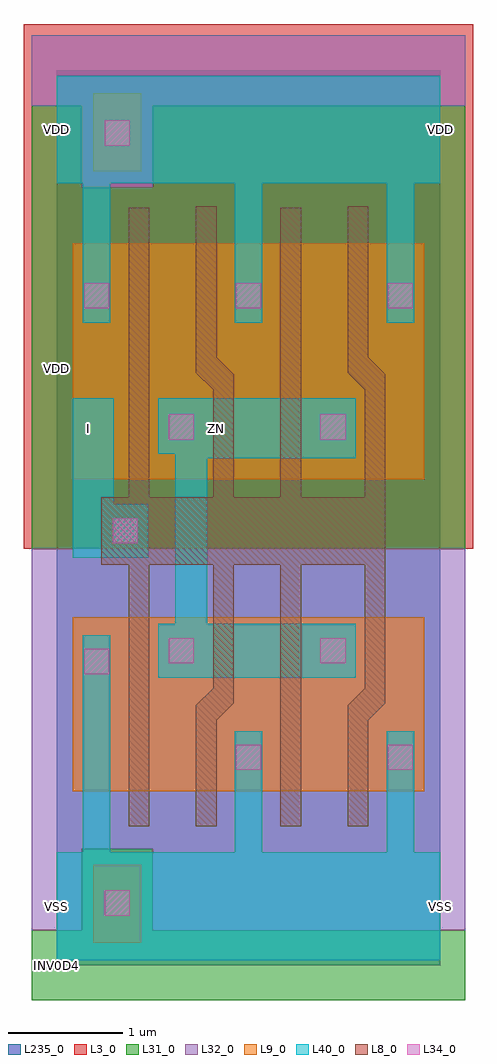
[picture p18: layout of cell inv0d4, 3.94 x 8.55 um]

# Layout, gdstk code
import gdstk
lib = gdstk.Library(unit=1e-6, precision=1e-09)
def R(c, l, rs):  # rectangles x0, y0, x1, y1
    for r in rs: c.add(gdstk.rectangle(r[:2], r[2:], *l))
def A(c, l, x, y, w, h, nx, ny, dx, dy):  # array of equal rectangles
    R(c, l, [(x+i*dx, y+j*dy, x+i*dx+w, y+j*dy+h) for i in range(nx) for j in range(ny)])
def P(c, l, *ps):  # polygons
    for p in ps: c.add(gdstk.Polygon(p, *l))
L3_0 = (3, 0)
L8_0 = (8, 0)
L9_0 = (9, 0)
L31_0 = (31, 0)
L32_0 = (32, 0)
L34_0 = (34, 0)
L40_0 = (40, 0)
L235_0 = (235, 0)

inv0d4 = lib.new_cell('inv0d4')
R(inv0d4, L3_0, [(-0.29,3.65,3.65,8.245)])
P(inv0d4, L8_0, [(0.81,3.51),(1.37,3.51),(1.37,2.425),(1.22,2.275),(1.22,1.215),(1.4,1.215),(1.4,2.145),(1.55,2.295),(1.55,3.51),(1.96,3.51),(1.96,1.215),(2.14,1.215),(2.14,3.51),(2.7,3.51),(2.7,2.425),(2.55,2.275),(2.55,1.215),(2.73,1.215),(2.73,2.145),(2.88,2.295),(2.88,5.175),(2.73,5.325),(2.73,6.65),(2.55,6.65),(2.55,5.19),(2.7,5.04),(2.7,4.1),(2.14,4.1),(2.14,6.635),(1.96,6.635),(1.96,4.1),(1.55,4.1),(1.55,5.175),(1.4,5.325),(1.4,6.65),(1.22,6.65),(1.22,5.19),(1.37,5.04),(1.37,4.1),(0.81,4.1),(0.81,6.635),(0.63,6.635),(0.63,4.1),(0.39,4.1),(0.39,3.51),(0.63,3.51),(0.63,1.215),(0.81,1.215)])
R(inv0d4, L9_0, [(0.32,0.195,0.74,0.88), (0.14,1.525,3.22,3.05), (0.14,4.255,3.22,6.325), (0.32,6.955,0.74,7.64)])
P(inv0d4, L31_0, [(0.84,1.02),(0.84,0.305),(3.58,0.305),(3.58,-0.305),(-0.22,-0.305),(-0.22,0.305),(0.22,0.305),(0.22,1.02)],
  [(3.58,7.53),(3.58,3.65),(-0.22,3.65),(-0.22,7.53),(0.22,7.53),(0.22,6.815),(0.84,6.815),(0.84,7.53)])
P(inv0d4, L32_0, [(3.58,3.65),(3.58,0.305),(0.84,0.305),(0.84,1.02),(0.22,1.02),(0.22,0.305),(-0.22,0.305),(-0.22,3.65)],
  [(3.58,8.145),(3.58,7.53),(0.84,7.53),(0.84,6.815),(0.22,6.815),(0.22,7.53),(-0.22,7.53),(-0.22,8.145)])
A(inv0d4, L34_0, 0.24, 5.755, 0.22, 0.22, 3, 1, 1.33, 0)
R(inv0d4, L34_0, [(0.42,0.435,0.64,0.655), (1.57,1.71,1.79,1.93), (2.9,1.71,3.12,1.93), (0.24,2.55,0.46,2.77), (0.98,2.645,1.2,2.865), (2.31,2.645,2.53,2.865), (0.49,3.695,0.71,3.915), (0.98,4.605,1.2,4.825), (2.31,4.605,2.53,4.825), (0.42,7.18,0.64,7.4)])
P(inv0d4, L40_0, [(0,6.85),(0.23,6.85),(0.23,5.63),(0.47,5.63),(0.47,6.85),(1.56,6.85),(1.56,5.63),(1.8,5.63),(1.8,6.85),(2.89,6.85),(2.89,5.63),(3.13,5.63),(3.13,6.85),(3.36,6.85),(3.36,7.79),(0,7.79)],
  [(0.14,4.965),(0.14,3.57),(0.8,3.57),(0.8,4.04),(0.5,4.04),(0.5,4.965)],
  [(2.62,4.44),(2.62,4.965),(0.89,4.965),(0.89,4.48),(1.04,4.48),(1.04,2.99),(0.89,2.99),(0.89,2.52),(2.62,2.52),(2.62,2.99),(1.32,2.99),(1.32,4.44)],
  [(2.89,2.05),(2.89,0.99),(1.8,0.99),(1.8,2.05),(1.56,2.05),(1.56,0.99),(0.47,0.99),(0.47,2.89),(0.23,2.89),(0.23,0.99),(0,0.99),(0,0.045),(3.36,0.045),(3.36,0.99),(3.13,0.99),(3.13,2.05)])
R(inv0d4, L235_0, [(0,0,3.36,7.84)])
inv0d4.add(gdstk.Label('VDD', (0,5.23), layer=40, texttype=7))
inv0d4.add(gdstk.Label('VDD', (0,5.23), layer=40, texttype=7))
inv0d4.add(gdstk.Label('VDD', (0,5.23), layer=40, texttype=7))
inv0d4.add(gdstk.Label('VDD', (0,5.23), layer=40, texttype=7))
inv0d4.add(gdstk.Label('VDD', (0,5.23), layer=40, texttype=7))
inv0d4.add(gdstk.Label('Copyright (c) 2003, 2004 Synopsys, Inc.', (0,-2.24), layer=96, texttype=0))
inv0d4.add(gdstk.Label('DT. 10-Sep-2002 16:40:58', (0,-1.68), layer=96, texttype=0))
inv0d4.add(gdstk.Label('Rev. 1', (0,-1.12), layer=96, texttype=0))
inv0d4.add(gdstk.Label('INVERTING BUFFER, 4X DRIVE', (0,-0.56), layer=96, texttype=0))
inv0d4.add(gdstk.Label('INV0D4', (0,0), layer=96, texttype=0))
inv0d4.add(gdstk.Label('ZN', (1.4,4.7), layer=40, texttype=7))
inv0d4.add(gdstk.Label('I', (0.28,4.7), layer=40, texttype=7))
inv0d4.add(gdstk.Label('VSS', (3.36,0.515), layer=40, texttype=7))
inv0d4.add(gdstk.Label('VDD', (3.36,7.32), layer=40, texttype=7))
inv0d4.add(gdstk.Label('VSS', (0,0.515), layer=40, texttype=7))
inv0d4.add(gdstk.Label('VDD', (0,7.32), layer=40, texttype=7))

lib.write_gds('inv0d4.gds')
